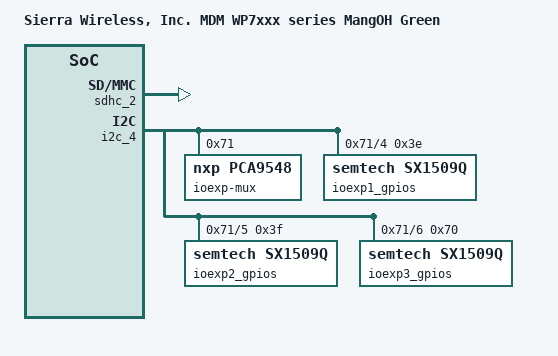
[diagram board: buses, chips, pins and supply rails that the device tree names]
/*
 * Copyright (c) 2019, The Linux Foundation. All rights reserved.
 *
 * This program is free software; you can redistribute it and/or modify
 * it under the terms of the GNU General Public License version 2 and
 * only version 2 as published by the Free Software Foundation.
 *
 * This program is distributed in the hope that it will be useful,
 * but WITHOUT ANY WARRANTY; without even the implied warranty of
 * MERCHANTABILITY or FITNESS FOR A PARTICULAR PURPOSE.  See the
 * GNU General Public License for more details.
 */

/ {
	model = "Sierra Wireless, Inc. MDM WP7xxx series MangOH Green";
	compatible = "qcom,mdm9607-mtp", "qcom,mdm9607", "qcom,mtp";
	qcom,board-id = <8 0x83>;
};

&sdhc_2 {
	status = "ok";
	cap-power-off-card;
	keep-power-in-suspend;
};

&soc {
	sierra_gpio {
		// IO expander 1
		alias-ARDUINO_RESET_LEVEL	= <&ioexp1_gpios 0 0>;
		alias-BATTCHRGR_PG_N		= <&ioexp1_gpios 1 0>;
		alias-BATTGAUGE_GPIO		= <&ioexp1_gpios 2 0>;
		alias-LED_ON			= <&ioexp1_gpios 3 0>;
		alias-ATMEGA_RESET_GPIO		= <&ioexp1_gpios 4 0>;
		alias-CONNECT_TO_AV_LED		= <&ioexp1_gpios 5 0>;
		alias-PCM_ANALOG_SELECT		= <&ioexp1_gpios 6 0>;
		alias-CONNECT_TO_AV		= <&ioexp1_gpios 7 0>;
		alias-BOARD_REV_RES1		= <&ioexp1_gpios 8 0>;
		alias-BOARD_REV_RES2		= <&ioexp1_gpios 9 0>;
		alias-UART_EXP1_ENN		= <&ioexp1_gpios 10 0>;
		alias-UART_EXP1_IN		= <&ioexp1_gpios 11 0>;
		alias-UART_EXP2_IN		= <&ioexp1_gpios 12 0>;
		alias-SDIO_SEL			= <&ioexp1_gpios 13 0>;
		alias-SPI_EXP1_ENN		= <&ioexp1_gpios 14 0>;
		alias-SPI_EXP1_IN		= <&ioexp1_gpios 15 0>;
		// IO expander 2
		alias-IOT0_GPIO3	= <&ioexp2_gpios 0 0>;
		alias-IOT0_GPIO2	= <&ioexp2_gpios 1 0>;
		alias-IOT0_GPIO1	= <&ioexp2_gpios 2 0>;
		alias-IOT1_GPIO3	= <&ioexp2_gpios 3 0>;
		alias-IOT1_GPIO2	= <&ioexp2_gpios 4 0>;
		alias-IOT1_GPIO1	= <&ioexp2_gpios 5 0>;
		alias-IOT2_GPIO3	= <&ioexp2_gpios 6 0>;
		alias-IOT2_GPIO2	= <&ioexp2_gpios 7 0>;
		alias-IOT2_GPIO1	= <&ioexp2_gpios 8 0>;
		alias-SENSOR_INT1	= <&ioexp2_gpios 9 0>;
		alias-SENSOR_INT2	= <&ioexp2_gpios 10 0>;
		alias-CARD_DETECT_IOT0	= <&ioexp2_gpios 11 0>;
		alias-CARD_DETECT_IOT2	= <&ioexp2_gpios 12 0>;
		alias-CARD_DETECT_IOT1	= <&ioexp2_gpios 13 0>;
		alias-GPIOEXP_INT3	= <&ioexp2_gpios 14 0>;
		alias-BATTCHRGR_INT	= <&ioexp2_gpios 15 0>;
		// IO expander 3
		alias-USB_HUB_INTN	= <&ioexp3_gpios 0 0>;
		alias-HUB_CONNECT	= <&ioexp3_gpios 1 0>;
		alias-GPIO_IOT2_RESET	= <&ioexp3_gpios 2 0>;
		alias-GPIO_IOT1_RESET	= <&ioexp3_gpios 3 0>;
		alias-GPIO_IOT0_RESET	= <&ioexp3_gpios 4 0>;
		alias-IOT0_GPIO4	= <&ioexp3_gpios 5 0>;
		alias-IOT1_GPIO4	= <&ioexp3_gpios 6 0>;
		alias-IOT2_GPIO4	= <&ioexp3_gpios 7 0>;
		alias-UART_EXP2_ENN	= <&ioexp3_gpios 8 0>;
		alias-PCM_EXP1_ENN	= <&ioexp3_gpios 9 0>;
		alias-PCM_EXP1_SEL	= <&ioexp3_gpios 10 0>;
		alias-ARD_FTDI		= <&ioexp3_gpios 11 0>;
		alias-LCD_ON_OFF	= <&ioexp3_gpios 12 0>;
		alias-FAST_SIM_SWITCH	= <&ioexp3_gpios 13 0>;
		alias-ARDUINO_USB_CTRL	= <&ioexp3_gpios 14 0>;
		alias-RS232_ENABLE	= <&ioexp3_gpios 15 0>;
	};
};

&i2c_4 {
        ioexp-mux@71 {
                // IO expanders are below the I2C switch PCA9548
                compatible = "nxp,pca9548";
                reg = <0x71>;
                #address-cells = <1>;
                #size-cells = <0>;

                i2c@4 {
                        // IO expander 1: channel 4
                        #address-cells = <1>;
                        #size-cells = <0>;
                        reg = <4>;
                        ioexp1_gpios: io_exp@3e {
                                #gpio-cells = <2>;
                                gpio-controller;
                                compatible = "semtech,sx1509q";
                                reg = <0x3e>;
                         };
                };
                i2c@5 {
                        // IO expander 1: channel 5
                        #address-cells = <1>;
                        #size-cells = <0>;
                        reg = <5>;
                        ioexp2_gpios: io_exp@3f {
                                #gpio-cells = <2>;
                                gpio-controller;
                                compatible = "semtech,sx1509q";
                                reg = <0x3f>;

                                /* Set pullup for GPIO 11, 12, 13 to select card inserted */
                                pinctrl-names = "default";
                                pinctrl-0 = <&card_detect_iot_pins>;

                                card_detect_iot_pins: gpio11-cfg {
                                        pins = "gpio11", "gpio12", "gpio13";
                                        bias-pull-up;
                                };
                        };
                };
                i2c@6 {
                        // IO expander 3: channel 6
                        #address-cells = <1>;
                        #size-cells = <0>;
                        reg = <6>;
                        ioexp3_gpios: io_exp@70 {
                                #gpio-cells = <2>;
                                gpio-controller;
                                compatible = "semtech,sx1509q";
                                reg = <0x70>;
                        };
                };
        };
};

